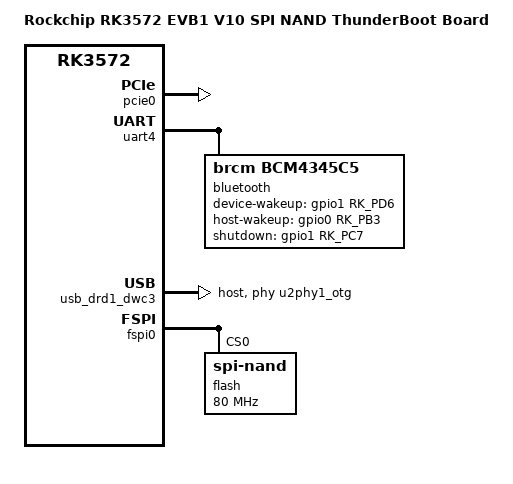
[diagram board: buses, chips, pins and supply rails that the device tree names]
// SPDX-License-Identifier: (GPL-2.0+ OR MIT)
/*
 * Copyright (c) 2026 Rockchip Electronics Co., Ltd.
 */

/dts-v1/;

#include "rk3572-evb1-v10.dtsi"
#include "rk3572-linux.dtsi"
#include "rk3572-evb1-cam-csi0.dtsi"
#include "rk3572-evb1-cam-csi1.dtsi"
#include "rk3572-thunderboot.dtsi"

/ {
	model = "Rockchip RK3572 EVB1 V10 SPI NAND ThunderBoot Board";
	compatible = "rockchip,rk3572-evb1-v10-spi-nand-thunderboot",
		     "rockchip,rk3572";

	chosen {
		bootargs = "loglevel=0 initcall_debug=0 initcall_nr_threads=0 earlycon=uart8250,mmio32,0x2c130000 console=ttyFIQ0 root=/dev/rd0 rootfstype=erofs rootflags=dax ro rootwait init=/sbin/init rcupdate.rcu_expedited=1 rcu_nocbs=all";
	};
};

&pcie0 {
	status = "okay";
};

&uart4 {
	status = "okay";
	pinctrl-names = "default";
	pinctrl-0 = <&uart4m1_xfer_pins &uart4m1_ctsn_pins &uart4m1_rtsn_pins>;
	uart-has-rtscts;

	bluetooth {
		compatible = "brcm,bcm4345c5";

		device-wakeup-gpios = <&gpio1 RK_PD6 GPIO_ACTIVE_HIGH>;
		host-wakeup-gpios = <&gpio0 RK_PB3 GPIO_ACTIVE_HIGH>;
		shutdown-gpios = <&gpio1 RK_PC7 GPIO_ACTIVE_HIGH>;
		max-speed = <1500000>;
	};
};

&usb_drd1_dwc3 {
	dr_mode = "host";
	maximum-speed = "high-speed";
	phys = <&u2phy1_otg>;
	phy-names = "usb2-phy";
	snps,dis_u2_susphy_quirk;
	snps,usb2-lpm-disable;
	status = "okay";
};

/delete-node/ &wireless_bluetooth;

&fspi0 {
	pinctrl-names = "default";
	pinctrl-0 = <&fspi0_pins &fspi0_csn0_pins>;
	status = "okay";

	flash@0 {
		compatible = "spi-nand";
		reg = <0>;
		spi-max-frequency = <80000000>;
		spi-rx-bus-width = <4>;
		spi-tx-bus-width = <1>;
	};
};

&ufs {
	status = "disabled";
};
